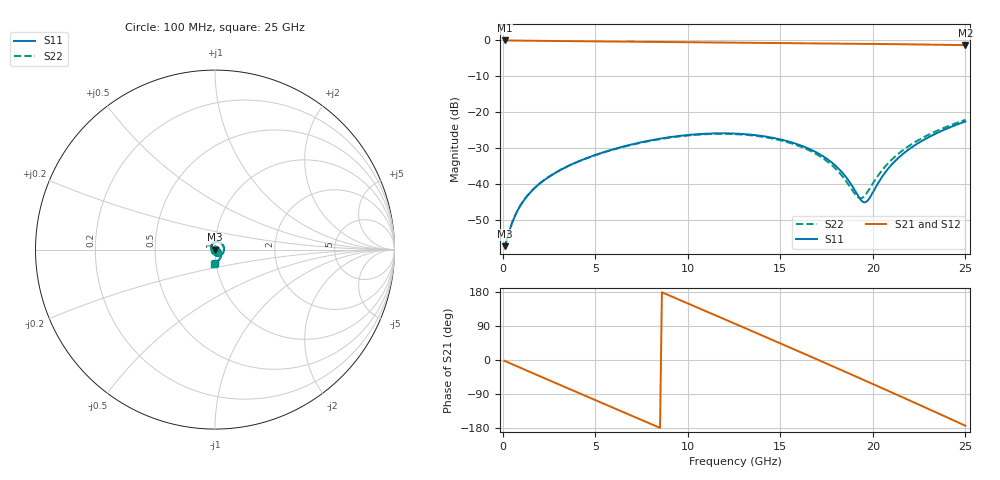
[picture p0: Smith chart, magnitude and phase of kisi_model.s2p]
! kisi C_s8_offset: fast channel model (formula impedances, via model), up to 25 GHz
# Hz S RI R 50
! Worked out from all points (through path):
!   250 points, 100 MHz to 25 GHz, reference 50 ohm
!   highest |S21| = -0.02 dB at 100 MHz (marker M1); lowest = -1.3 dB at 25 GHz (marker M2)
!   group delay of S21, straight-line fit = 59 ps
!   lowest |S11| = -57.1 dB at 100 MHz (marker M3), VSWR 1.00, Z = 50.1 - j0.0469 ohm
!   |S11| at or under -10 dB: start of sweep to end of sweep
!   |S22| runs from -57.1 to -22.1 dB; largest |S21 - S12| = 0
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1e8  0.00131 -0.000467  0.9972 -0.0386  0.9972 -0.0386  0.00131 -0.000469
7e8  0.000331 -0.00383  0.9592 -0.2594  0.9592 -0.2594  0.000368 -0.00387
1.5e9  -0.00372 -0.00685  0.8371 -0.5258  0.8371 -0.5258  -0.0036 -0.007
3e9  -0.0145 -0.00495  0.4329 -0.879  0.4329 -0.879  -0.0143 -0.00561
4.3e9  -0.0215 0.00467  -0.0187 -0.9725  -0.0187 -0.9725  -0.0216 0.00335
5.4e9  -0.0223 0.0165  -0.3959 -0.882  -0.3959 -0.882  -0.0233 0.0147
6.6e9  -0.0161 0.03  -0.7286 -0.626  -0.7286 -0.626  -0.0184 0.0282
8.4e9  0.00598 0.0424  -0.9501 -0.0487  -0.9501 -0.0487  0.00148 0.0421
1.03e10  0.0355 0.0343  -0.7527 0.566  -0.7527 0.566  0.0303 0.0379
1.15e10  0.0482 0.0174  -0.4369 0.8276  -0.4369 0.8276  0.0443 0.0238
1.26e10  0.0508 -0.00248  -0.0755 0.9274  -0.0755 0.9274  0.0495 0.00597
1.44e10  0.0342 -0.0298  0.5074 0.7697  0.5074 0.7697  0.039 -0.0209
1.56e10  0.0145 -0.0356  0.7842 0.4736  0.7842 0.4736  0.0233 -0.029
1.67e10  -0.00206 -0.0299  0.9027 0.1217  0.9027 0.1217  0.00918 -0.027
1.82e10  -0.0117 -0.011  0.8222 -0.3742  0.8222 -0.3742  -1.37e-05 -0.0145
1.91e10  -0.00766 0.000485  0.6479 -0.6228  0.6479 -0.6228  0.00244 -0.00657
1.95e10  -0.00369 0.0043  0.5455 -0.7114  0.5455 -0.7114  0.00529 -0.00413
1.98e10  -1.14e-05 0.00636  0.4607 -0.7671  0.4607 -0.7671  0.008 -0.00298
2.09e10  0.0163 0.00636  0.1093 -0.8817  0.1093 -0.8817  0.02 -0.00513
2.27e10  0.0349 -0.0213  -0.4698 -0.7404  -0.4698 -0.7404  0.0314 -0.0317
2.39e10  0.0276 -0.0511  -0.7439 -0.4477  -0.7439 -0.4477  0.0208 -0.0585
2.5e10  0.00195 -0.0749  -0.854 -0.0972  -0.854 -0.0972  -0.00581 -0.0787
